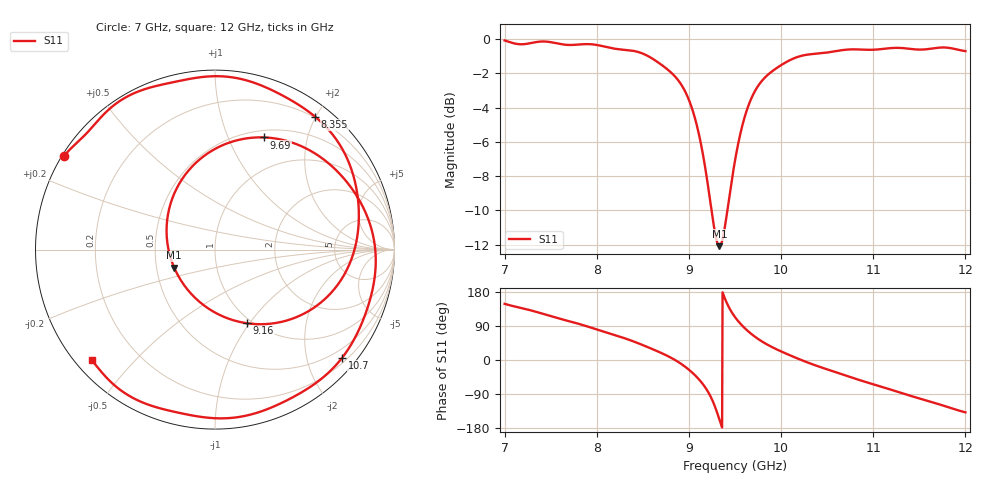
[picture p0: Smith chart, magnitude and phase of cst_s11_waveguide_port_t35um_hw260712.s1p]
! TOUCHSTONE file generated by CST MICROWAVE STUDIO
! Date and time: Sun Jul 12 01:46:42 2026
! Project name: rfx-patch_waveguide_port.cst
! Parameters = {Airgap=10; L=8.595; RO_L=30.595; RO_W=30.129; W=10.129; d=2.4; feed_w=1.8; g=0.9; h=0.787; patch_t=0.035}
! Header version: 2024
! Port assignment regex: !\s*Touchstone port\s*([0-9]+)\s*=\s*(CST MWS port|CST DES external port|CST DES block port)\s*(.+)\s* \(\"(.*)\"\)(\s*mode\s*([0-9]+))?.*
! Touchstone port assignment:
! Touchstone port 1 = CST MWS port 1 ("")
# GHz S MA R 50
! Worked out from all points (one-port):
!   1001 points, 7 GHz to 12 GHz, reference 50 ohm
!   lowest |S11| = -12.1 dB at 9.33 GHz (marker M1), VSWR 1.66, Z = 30.9 - j6.6 ohm
!   |S11| at or under -10 dB: 9.245 GHz to 9.417 GHz (172 MHz wide, 1.84 % of centre)
!   S11 on the Smith chart (normalised r, x): 7 GHz: 0.01, +0.28; 8.355 GHz: 0.19, +1.99; 9.16 GHz: 0.95, -0.97; 9.69 GHz: 0.58, +1.36; 10.7 GHz: 0.30, -2.68; 12 GHz: 0.05, -0.38
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7  0.9902 148.2
7.34  0.9793 127.2
7.625  0.9646 107.2
7.945  0.965 84.9
8.25  0.9327 61.6
8.355  0.927 52.9
8.63  0.8674 26.1
8.765  0.816 11.1
8.875  0.7629 -3.8
9.01  0.6535 -27.7
9.09  0.5539 -46.1
9.16  0.4479 -66.4
9.24  0.3237 -98.7
9.33  0.2485 -156.2
9.415  0.313 148.4
9.5  0.4417 113.2
9.595  0.5793 86.6
9.69  0.6826 66.3
9.785  0.7509 50.1
9.885  0.798 36.1
10.125  0.8748 9.4
10.365  0.9051 -13.5
10.695  0.9301 -40.5
10.75  0.9323 -45.0
11.105  0.9354 -71.7
11.375  0.9375 -92.4
11.705  0.943 -116.1
12  0.922 -138.1
